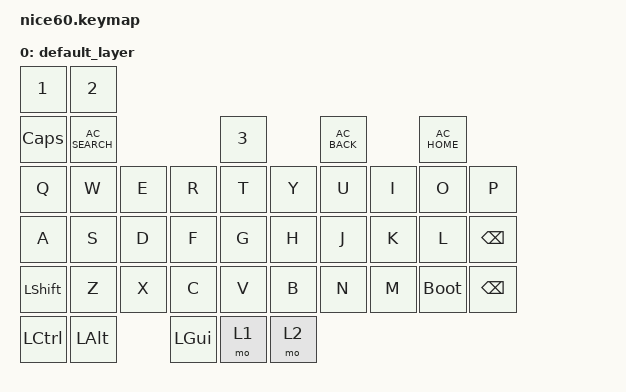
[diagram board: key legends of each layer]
/*
 * Copyright (c) 2021 Nick Winans
 *
 * SPDX-License-Identifier: MIT
 */

#include <behaviors.dtsi>
#include <dt-bindings/zmk/keys.h>
#include <dt-bindings/zmk/bt.h>

/ {
    keymap {
        compatible = "zmk,keymap";

        default_layer {

            bindings = <
    &kp N1   &kp N2 
    &kp CLCK  &kp C_AC_SEARCH   &kp N3      &kp C_AC_BACK  &kp C_AC_HOME 
    &kp Q  &kp W  &kp E  &kp R  &kp T  &kp Y  &kp U  &kp I  &kp O  &kp P
    &kp A  &kp S  &kp D  &kp F  &kp G  &kp H  &kp J  &kp K  &kp L  &kp BSPC
    &kp LSHFT &kp Z &kp X  &kp C &kp V  &kp B  &kp N  &kp M &bootloader &kp BSPC
    &kp LCTRL &kp LALT &kp LGUI &mo 1 &mo 2
            >;
        };
    };
};

